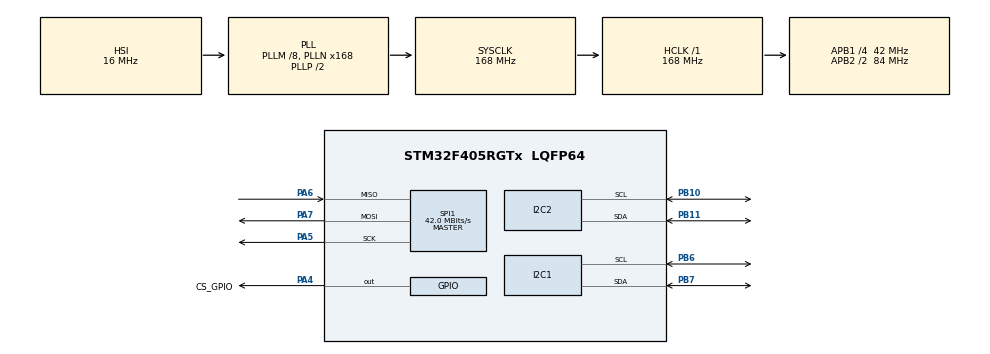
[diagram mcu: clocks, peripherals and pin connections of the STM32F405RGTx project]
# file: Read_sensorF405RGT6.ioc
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Mcu.Family=STM32F4
Mcu.Name=STM32F405RGTx
Mcu.Package=LQFP64
NVIC.I2C1_EV_IRQn=true\:0\:0\:false\:false\:true\:true\:true\:true
NVIC.I2C2_EV_IRQn=true\:0\:0\:false\:false\:true\:true\:true\:true
NVIC.PriorityGroup=NVIC_PRIORITYGROUP_4
NVIC.TIM2_IRQn=true\:0\:0\:false\:false\:true\:true\:true\:true
NVIC.TIM3_IRQn=true\:0\:0\:false\:false\:true\:true\:true\:true
PA13.Mode=Serial_Wire
PA13.Signal=SYS_JTMS-SWDIO
PA14.Mode=Serial_Wire
PA14.Signal=SYS_JTCK-SWCLK
PA4.GPIO_Label=CS_GPIO
PA4.Signal=GPIO_Output
PA5.Mode=Full_Duplex_Master
PA5.Signal=SPI1_SCK
PA6.Mode=Full_Duplex_Master
PA6.Signal=SPI1_MISO
PA7.Mode=Full_Duplex_Master
PA7.Signal=SPI1_MOSI
PB10.Mode=I2C
PB10.Signal=I2C2_SCL
PB11.Mode=I2C
PB11.Signal=I2C2_SDA
PB6.Mode=I2C
PB6.Signal=I2C1_SCL
PB7.Mode=I2C
PB7.Signal=I2C1_SDA
PH0-OSC_IN.Mode=HSE-External-Oscillator
PH0-OSC_IN.Signal=RCC_OSC_IN
PH1-OSC_OUT.Mode=HSE-External-Oscillator
PH1-OSC_OUT.Signal=RCC_OSC_OUT
ProjectManager.HeapSize=0x200
ProjectManager.StackSize=0x400
ProjectManager.TargetToolchain=STM32CubeIDE
RCC.48MHZClocksFreq_Value=84000000
RCC.AHBFreq_Value=168000000
RCC.APB1CLKDivider=RCC_HCLK_DIV4
RCC.APB1Freq_Value=42000000
RCC.APB1TimFreq_Value=84000000
RCC.APB2CLKDivider=RCC_HCLK_DIV2
RCC.APB2Freq_Value=84000000
RCC.APB2TimFreq_Value=168000000
RCC.CortexFreq_Value=168000000
RCC.HCLKFreq_Value=168000000
RCC.HSE_VALUE=25000000
RCC.HSI_VALUE=16000000
RCC.LSE_VALUE=32768
RCC.PLLM=8
RCC.PLLN=168
RCC.SYSCLKFreq_VALUE=168000000
RCC.SYSCLKSource=RCC_SYSCLKSOURCE_PLLCLK
RCC.VCOOutputFreq_Value=336000000
SPI1.CalculateBaudRate=42.0 MBits/s
SPI1.Direction=SPI_DIRECTION_2LINES
SPI1.Mode=SPI_MODE_MASTER
SPI1.VirtualType=VM_MASTER
TIM2.AutoReloadPreload=TIM_AUTORELOAD_PRELOAD_ENABLE
TIM2.Period=10000-1
TIM2.Prescaler=84-1
TIM3.AutoReloadPreload=TIM_AUTORELOAD_PRELOAD_ENABLE
TIM3.Period=20000-1
TIM3.Prescaler=84-1
VP_TIM2_VS_ClockSourceINT.Mode=Internal
VP_TIM3_VS_ClockSourceINT.Mode=Internal
board=custom

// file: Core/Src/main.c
/* USER CODE BEGIN Header */
/**
  ******************************************************************************
  * @file           : main.c
  * @brief          : Main program body
  ******************************************************************************
  * @attention
  *
  * Copyright (c) 2024 STMicroelectronics.
  * All rights reserved.
  *
  * This software is licensed under terms that can be found in the LICENSE file
  * in the root directory of this software component.
  * If no LICENSE file comes with this software, it is provided AS-IS.
  *
  ******************************************************************************
  */
/* USER CODE END Header */
#include "main.h"
#include "i2c.h"
#include "spi.h"
#include "tim.h"
#include "gpio.h"

/* USER CODE BEGIN Includes */
#include "mpu_6500.h"
#include "QMC5883P.h"
#include "bmp280.h"
#include <stdbool.h>
#include <math.h>

/* USER CODE END Includes */

/* USER CODE BEGIN PTD */

double meanAccel[3];
double meanGyro[3];
double meanMag[3];
double meanAlti;

double rawMag[3];
double rawAccel[3];
double rawGyro[3];

double rawAlti;
extern baro_t Baro;

/* Variable Definitions */

/* Variable Definitions */

/* USER CODE END PTD */

/* USER CODE BEGIN PD */
void sensorCalib(void){
	double AltiTmp = 0;
	double mean_tmp[3];
	double accel[3];
	double gyro[3];
	double mag[3];
	for (int i = 0; i < 100; i++) {
		bmp280_Update();
		AltiTmp = pressureToAltitude(Baro.baroPressure, 0);
		meanAlti += AltiTmp;
		qmc5883p_read(mag);
		MPU6500_Read_Scaled(accel, gyro, mean_tmp, mean_tmp);
//    rawAltiTmp = (1.0f - pow(Baro.baroPressure / 101325.0f, 0.190295f)) * 44330.0f - 0; //OffsetAlti = 0
//    alti = pressureToAltitude(Baro.baroPressure, offsettmp);
//    rawAltiTmp = (1.0f - powf(Baro.baroPressure / 101325.0f, 0.190267f)) * 44330.0f;
//    meanAlti += rawAltiTmp;
		for (int i = 0; i < 3; i++) {
			meanGyro[i] += gyro[i];
			meanMag[i] += mag[i];
			meanAccel[i] += accel[i];
		}
//		meanAccel[0] += accel[0];
//		meanAccel[1] += accel[1];
//    	meanAlti += rawAltiTmp;
		HAL_Delay(10);
	}
	for (int i = 0; i < 3; i++) {
		meanGyro[i] /= 100;
		meanMag[i] /= 100;
		meanAccel[i] /= 100;
	}
	meanAlti /= 100;
//	meanAccel[0] /= 100;
//	meanAccel[1] /= 100;
}
void HAL_TIM_PeriodElapsedCallback(TIM_HandleTypeDef *htim) {
  if (htim->Instance == TIM2) { //Timer2 100Hz
    qmc5883p_read(rawMag);
    MPU6500_Read_Scaled(rawAccel, rawGyro, meanAccel, meanGyro);
  }
  if (htim->Instance == TIM3) { //Timer3 50Hz
    bmp280_Update();
    /*Read Raw altitude from pressure with library*/
    rawAlti = pressureToAltitude(Baro.baroPressure, meanAlti);
  }
}

/* USER CODE END PD */

/* USER CODE BEGIN PV */
//float temperature,altitude;

//int32_t pressure;
//FIRFilter FIRFilter_pressure;
//IIRFilter Filter_pressure;
//float rawAlti;

/* USER CODE END PV */

void SystemClock_Config(void);

/* USER CODE BEGIN 0 */

//void HAL_TIM_PeriodElapsedCallback(TIM_HandleTypeDef *htim) {
//  if (htim->Instance == TIM2) { //Timer2 100Hz
//    qmc5883p_read(rawMag);
//    MPU6500_Read_Scaled(rawAccel, rawGyro, meanAccel, meanGyro);
//  }
//  if (htim->Instance == TIM3) { //Timer3 50Hz
//    bmp280_Update();
////    rawAlti = pressureToAltitude(Baro.baroPressure, meanAlti);
////    Alti = (1.0f - pow(Baro.baroPressure / 101325.0f, 0.190295f)) * 44330.0f; //OffsetAlti = 0
////    rawAlti = Alti - meanAlti;
//    /*Read Raw altitude from pressure with library*/
//    rawAlti = pressureToAltitude(Baro.baroPressure, meanAlti);
////    rawAlti = Alti - meanAlti;
//  }
//}

/* USER CODE END 0 */

int main(void)
{

  /* MCU Configuration--------------------------------------------------------*/

  /* Reset of all peripherals, Initializes the Flash interface and the Systick. */
  HAL_Init();

  /* Configure the system clock */
  SystemClock_Config();

  /* Initialize all configured peripherals */
  MX_GPIO_Init();
  MX_I2C2_Init();
  MX_SPI1_Init();
  MX_TIM2_Init();
  MX_I2C1_Init();
  MX_TIM3_Init();
  /* USER CODE BEGIN 2 */

  //Init sensor before calibrate
  MPU6500_Init();
  qmc5883p_init();
  bmp280_Init();
  sensorCalib();

  HAL_TIM_Base_Start_IT(&htim2); //Using timer2 100Hz
  HAL_TIM_Base_Start_IT(&htim3); //Using timer3 50Hz

  /* USER CODE END 2 */

  /* Infinite loop */
  while (1)
  {

    /* USER CODE BEGIN 3 */
//    BMP280_ReadTemperatureAndPressure(&temperature, &pressure);
//    FIRFilter_Update(&FIRFilter_pressure, pressure);
//    IIRFilter_Update(&Filter_pressure, pressure);
//
////    altitude = 44330.0f * (1 - powf(Filter_pressure.out / 101025.0f, 1.0f / 5.255f));
//
//    rawAlti = 47253.84f * (1 - powf(Filter_pressure.out / 100950.0f, 1.0f / 5.255f)); //Use T0 = 34,35 Angsasel &P0 in Cambodia
////    altitude = 44330.0f * (1 - powf(pressure / 101325.0f, 1.0f / 5.255f));
////    altitude = 44330.0f * (1 - powf(pressure / 100900.0f, 1.0f / 5.255f));
////    altitude = 44330.0f * (1 - powf(pressure / 100750.0f, 1.0f / 5.255f));
////    rawAlti = 44330.0f * (1 - powf(Filter_pressure.out / 101025.0f, 1.0f / 5.255f));
//      bmp280_Update();
//      rawAlti = (1.0f - pow(Baro.baroPressure / 101325.0f, 0.190295f)) * 4433000.0f / 100.0  - 0; //OffsetAlti = 0
//    HAL_Delay(20);
  }
  /* USER CODE END 3 */
}

void SystemClock_Config(void)
{
  RCC_OscInitTypeDef RCC_OscInitStruct = {0};
  RCC_ClkInitTypeDef RCC_ClkInitStruct = {0};

  /** Configure the main internal regulator output voltage
  */
  __HAL_RCC_PWR_CLK_ENABLE();
  __HAL_PWR_VOLTAGESCALING_CONFIG(PWR_REGULATOR_VOLTAGE_SCALE1);

  /** Initializes the RCC Oscillators according to the specified parameters
  * in the RCC_OscInitTypeDef structure.
  */
  RCC_OscInitStruct.OscillatorType = RCC_OSCILLATORTYPE_HSI;
  RCC_OscInitStruct.HSIState = RCC_HSI_ON;
  RCC_OscInitStruct.HSICalibrationValue = RCC_HSICALIBRATION_DEFAULT;
  RCC_OscInitStruct.PLL.PLLState = RCC_PLL_ON;
  RCC_OscInitStruct.PLL.PLLSource = RCC_PLLSOURCE_HSI;
  RCC_OscInitStruct.PLL.PLLM = 8;
  RCC_OscInitStruct.PLL.PLLN = 168;
  RCC_OscInitStruct.PLL.PLLP = RCC_PLLP_DIV2;
  RCC_OscInitStruct.PLL.PLLQ = 4;
  if (HAL_RCC_OscConfig(&RCC_OscInitStruct) != HAL_OK)
  {
    Error_Handler();
  }

  /** Initializes the CPU, AHB and APB buses clocks
  */
  RCC_ClkInitStruct.ClockType = RCC_CLOCKTYPE_HCLK|RCC_CLOCKTYPE_SYSCLK
                              |RCC_CLOCKTYPE_PCLK1|RCC_CLOCKTYPE_PCLK2;
  RCC_ClkInitStruct.SYSCLKSource = RCC_SYSCLKSOURCE_PLLCLK;
  RCC_ClkInitStruct.AHBCLKDivider = RCC_SYSCLK_DIV1;
  RCC_ClkInitStruct.APB1CLKDivider = RCC_HCLK_DIV4;
  RCC_ClkInitStruct.APB2CLKDivider = RCC_HCLK_DIV2;

  if (HAL_RCC_ClockConfig(&RCC_ClkInitStruct, FLASH_LATENCY_5) != HAL_OK)
  {
    Error_Handler();
  }
}

void Error_Handler(void)
{
  __disable_irq();
  while (1)
  {
  }
}
